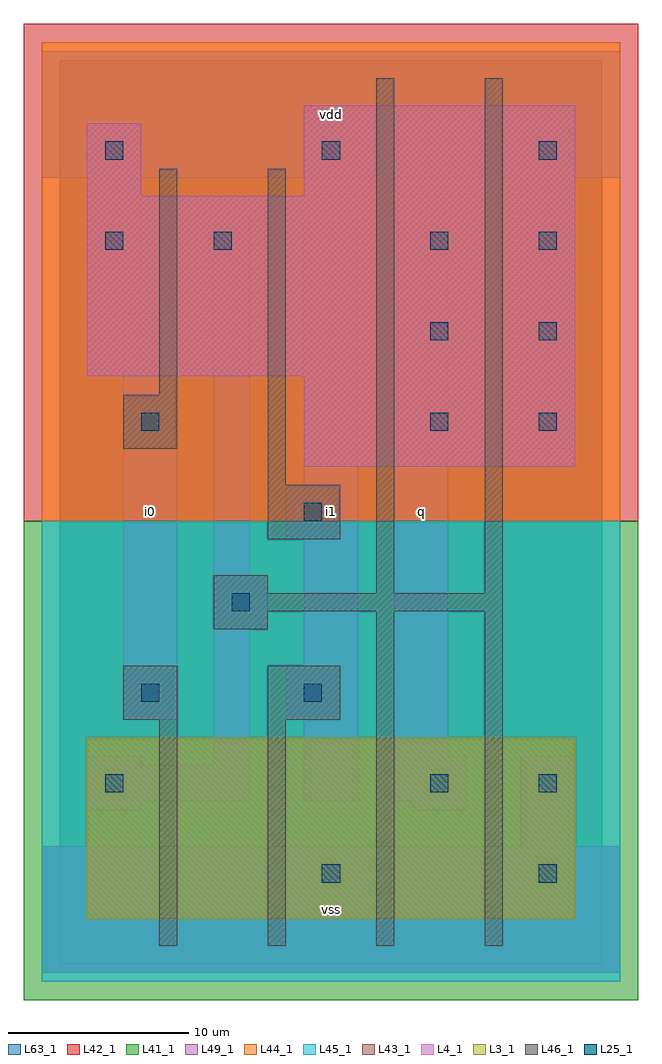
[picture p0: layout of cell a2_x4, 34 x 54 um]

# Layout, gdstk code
import gdstk
lib = gdstk.Library(unit=1e-6, precision=1e-09)
def R(c, l, rs):  # rectangles x0, y0, x1, y1
    for r in rs: c.add(gdstk.rectangle(r[:2], r[2:], *l))
def A(c, l, x, y, w, h, nx, ny, dx, dy):  # array of equal rectangles
    R(c, l, [(x+i*dx, y+j*dy, x+i*dx+w, y+j*dy+h) for i in range(nx) for j in range(ny)])
L3_1 = (3, 1)
L4_1 = (4, 1)
L25_1 = (25, 1)
L41_1 = (41, 1)
L42_1 = (42, 1)
L43_1 = (43, 1)
L44_1 = (44, 1)
L45_1 = (45, 1)
L46_1 = (46, 1)
L49_1 = (49, 1)
L63_1 = (63, 1)

a2_x4 = lib.new_cell('a2_x4')
R(a2_x4, L3_1, [(1.5,2.5,28.5,12.5)])
R(a2_x4, L4_1, [(13.5,27.5,28.5,32.5), (1.5,32.5,28.5,42.5), (1.5,42.5,4.5,46.5), (13.5,42.5,28.5,47.5)])
A(a2_x4, L25_1, 20.5, 29.5, 1, 1, 1, 3, 0, 5)
A(a2_x4, L25_1, 26.5, 29.5, 1, 1, 1, 3, 0, 5)
A(a2_x4, L25_1, 2.5, 44.5, 1, 1, 3, 1, 12, 0)
R(a2_x4, L25_1, [(14.5,4.5,15.5,5.5), (26.5,4.5,27.5,5.5), (2.5,9.5,3.5,10.5), (20.5,9.5,21.5,10.5), (26.5,9.5,27.5,10.5), (4.5,14.5,5.5,15.5), (13.5,14.5,14.5,15.5), (9.5,19.5,10.5,20.5), (13.5,24.5,14.5,25.5), (4.5,29.5,5.5,30.5), (2.5,39.5,3.5,40.5), (8.5,39.5,9.5,40.5)])
R(a2_x4, L41_1, [(-2,-2,32,24.5)])
R(a2_x4, L42_1, [(-2,24.5,32,52)])
R(a2_x4, L43_1, [(1.5,2.5,28.5,12.5), (13.5,27.5,28.5,32.5), (1.5,32.5,28.5,42.5), (1.5,42.5,4.5,46.5), (13.5,42.5,28.5,47.5)])
R(a2_x4, L44_1, [(-1,24.5,31,51)])
R(a2_x4, L45_1, [(-1,-1,31,24.5)])
R(a2_x4, L46_1, [(5.5,1,6.5,13.5), (11.5,1,12.5,13.5), (17.5,1,18.5,19.5), (23.5,1,24.5,19.5), (3.5,13.5,6.5,16.5), (11.5,13.5,15.5,16.5), (8.5,18.5,11.5,19.5), (8.5,19.5,24.5,20.5), (8.5,20.5,11.5,21.5), (17.5,20.5,18.5,49), (23.5,20.5,24.5,49), (11.5,23.5,15.5,26.5), (11.5,26.5,12.5,44), (3.5,28.5,6.5,31.5), (5.5,31.5,6.5,44)])
R(a2_x4, L49_1, [(-1,-0.5,31,6.5), (25.5,6.5,28.5,11.5), (1.5,8.5,4.5,9), (19.5,8.5,22.5,9), (1.5,9,10.5,11), (13.5,9,16.5,13.5), (18.5,9,22.5,11.5), (1.5,11,4.5,11.5), (8.5,11,10.5,18.5), (18.5,11.5,21.5,28.5), (3.5,13.5,6.5,36), (12.5,13.5,16.5,16.5), (13.5,16.5,16.5,23.5), (8.5,18.5,11.5,21.5), (8.5,21.5,10.5,38.5), (12.5,23.5,16.5,26.5), (13.5,26.5,16.5,41), (18.5,28.5,22.5,31.5), (25.5,28.5,28.5,43.5), (18.5,31.5,21.5,33.5), (18.5,33.5,22.5,36.5), (18.5,36.5,21.5,38.5), (1.5,38.5,4.5,43.5), (7.5,38.5,10.5,41.5), (18.5,38.5,22.5,41), (19.5,41,22.5,41.5), (-1,43.5,31,50.5)])
R(a2_x4, L63_1, [(0,0,30,50)])
a2_x4.add(gdstk.Label('i0', (5,25), layer=49, texttype=1))
a2_x4.add(gdstk.Label('i0', (5,25), layer=49, texttype=1))
a2_x4.add(gdstk.Label('vss', (15,3), layer=49, texttype=1))
a2_x4.add(gdstk.Label('vss', (15,3), layer=49, texttype=1))
a2_x4.add(gdstk.Label('q', (20,25), layer=49, texttype=1))
a2_x4.add(gdstk.Label('q', (20,25), layer=49, texttype=1))
a2_x4.add(gdstk.Label('i1', (15,25), layer=49, texttype=1))
a2_x4.add(gdstk.Label('i1', (15,25), layer=49, texttype=1))
a2_x4.add(gdstk.Label('vdd', (15,47), layer=49, texttype=1))
a2_x4.add(gdstk.Label('vdd', (15,47), layer=49, texttype=1))

lib.write_gds('a2_x4.gds')
